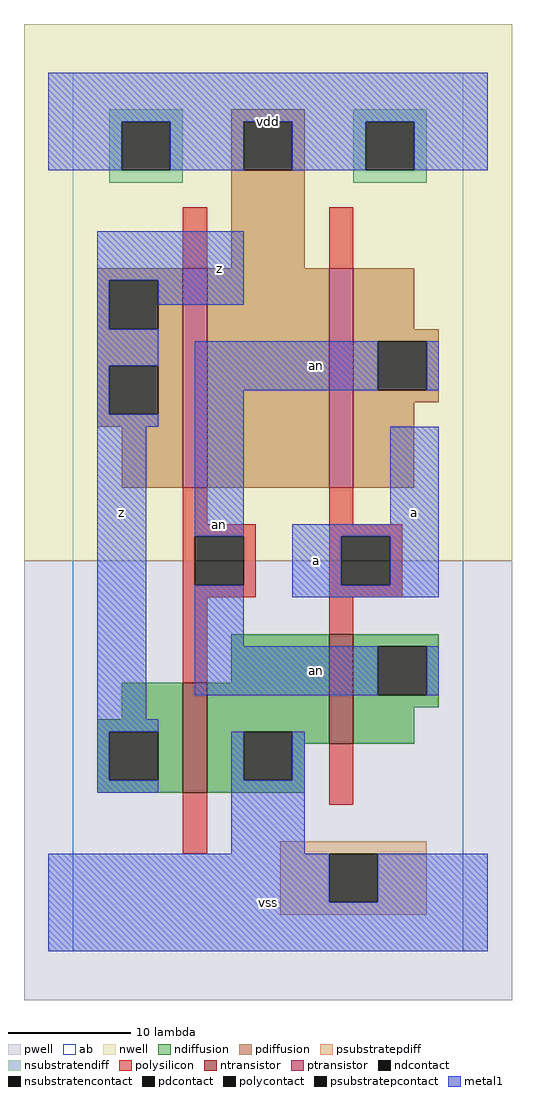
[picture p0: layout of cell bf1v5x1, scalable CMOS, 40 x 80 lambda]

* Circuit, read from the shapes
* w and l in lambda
.subckt bf1v5x1 a an vdd vss z
M1 vss an z vss nfet w=9 l=2
M2 an a vss vss nfet w=9 l=2
M3 vdd an z vdd pfet w=18 l=2
M4 an a vdd vdd pfet w=18 l=2
.ends

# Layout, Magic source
magic
tech scmos
<< ab >>
rect 0 0 32 72
<< pwell >>
rect -4 -4 36 32
<< nwell >>
rect -4 32 36 76
<< polysilicon >>
rect 9 56 11 61
rect 21 56 23 61
rect 9 35 11 38
rect 21 35 23 38
rect 9 34 15 35
rect 9 30 10 34
rect 14 30 15 34
rect 9 29 15 30
rect 21 34 27 35
rect 21 30 22 34
rect 26 30 27 34
rect 21 29 27 30
rect 9 22 11 29
rect 21 26 23 29
rect 9 8 11 13
rect 21 12 23 17
<< ndiffusion >>
rect 13 22 21 26
rect 4 19 9 22
rect 2 18 9 19
rect 2 14 3 18
rect 7 14 9 18
rect 2 13 9 14
rect 11 18 21 22
rect 11 14 14 18
rect 18 17 21 18
rect 23 25 30 26
rect 23 21 25 25
rect 29 21 30 25
rect 23 20 30 21
rect 23 17 28 20
rect 18 14 19 17
rect 11 13 19 14
<< pdiffusion >>
rect 13 68 19 69
rect 13 64 14 68
rect 18 64 19 68
rect 13 56 19 64
rect 2 55 9 56
rect 2 51 3 55
rect 7 51 9 55
rect 2 48 9 51
rect 2 44 3 48
rect 7 44 9 48
rect 2 43 9 44
rect 4 38 9 43
rect 11 38 21 56
rect 23 51 28 56
rect 23 50 30 51
rect 23 46 25 50
rect 29 46 30 50
rect 23 45 30 46
rect 23 38 28 45
<< metal1 >>
rect -2 68 34 72
rect -2 64 4 68
rect 8 64 14 68
rect 18 64 24 68
rect 28 64 34 68
rect 2 55 14 59
rect 2 51 3 55
rect 7 53 14 55
rect 2 48 7 51
rect 2 44 3 48
rect 2 43 7 44
rect 10 46 25 50
rect 29 46 30 50
rect 2 19 6 43
rect 10 34 14 46
rect 26 35 30 43
rect 10 25 14 30
rect 18 34 30 35
rect 18 30 22 34
rect 26 30 30 34
rect 18 29 30 30
rect 10 21 25 25
rect 29 21 30 25
rect 2 18 7 19
rect 2 14 3 18
rect 2 13 7 14
rect 13 14 14 18
rect 18 14 19 18
rect 13 8 19 14
rect -2 4 21 8
rect 25 4 34 8
rect -2 0 34 4
<< ntransistor >>
rect 9 13 11 22
rect 21 17 23 26
<< ptransistor >>
rect 9 38 11 56
rect 21 38 23 56
<< polycontact >>
rect 10 30 14 34
rect 22 30 26 34
<< ndcontact >>
rect 3 14 7 18
rect 14 14 18 18
rect 25 21 29 25
<< pdcontact >>
rect 14 64 18 68
rect 3 51 7 55
rect 3 44 7 48
rect 25 46 29 50
<< psubstratepcontact >>
rect 21 4 25 8
<< nsubstratencontact >>
rect 4 64 8 68
rect 24 64 28 68
<< psubstratepdiff >>
rect 17 8 29 9
rect 17 4 21 8
rect 25 4 29 8
rect 17 3 29 4
<< nsubstratendiff >>
rect 3 68 9 69
rect 3 64 4 68
rect 8 64 9 68
rect 3 63 9 64
rect 23 68 29 69
rect 23 64 24 68
rect 28 64 29 68
rect 23 63 29 64
<< labels >>
rlabel metal1 4 36 4 36 6 z
rlabel metal1 12 35 12 35 6 an
rlabel metal1 12 56 12 56 6 z
rlabel metal1 16 4 16 4 6 vss
rlabel metal1 20 32 20 32 6 a
rlabel metal1 16 68 16 68 6 vdd
rlabel metal1 20 23 20 23 6 an
rlabel metal1 28 36 28 36 6 a
rlabel metal1 20 48 20 48 6 an
<< end >>
